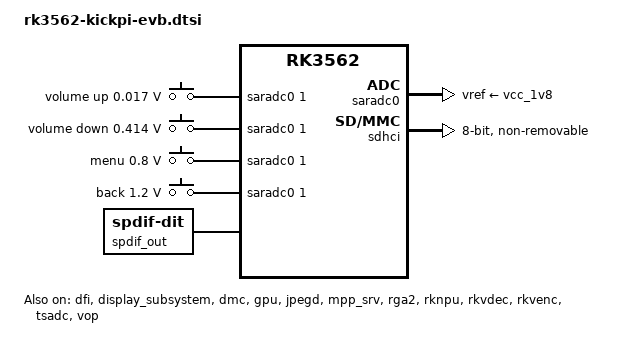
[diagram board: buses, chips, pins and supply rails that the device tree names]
// SPDX-License-Identifier: (GPL-2.0+ OR MIT)
/*
 * Copyright (c) 2022 Rockchip Electronics Co., Ltd.
 *
 */

#include <dt-bindings/display/drm_mipi_dsi.h>
#include <dt-bindings/gpio/gpio.h>
#include <dt-bindings/input/input.h>
#include <dt-bindings/pinctrl/rockchip.h>

/ {
	adc_keys: adc-keys {
		compatible = "adc-keys";
		io-channels = <&saradc0 1>;
		io-channel-names = "buttons";
		keyup-threshold-microvolt = <1800000>;
		poll-interval = <100>;

		vol-up-key {
			linux,code = <KEY_VOLUMEUP>;
			label = "volume up";
			press-threshold-microvolt = <17000>;
		};

		vol-down-key {
			linux,code = <KEY_VOLUMEDOWN>;
			label = "volume down";
			press-threshold-microvolt = <414000>;
		};

		menu-key {
			linux,code = <KEY_MENU>;
			label = "menu";
			press-threshold-microvolt = <800000>;
		};

		back-key {
			linux,code = <KEY_BACK>;
			label = "back";
			press-threshold-microvolt = <1200000>;
		};
	};
/*
	pdm_codec: dummy-codec {
		status = "okay";
		compatible = "rockchip,dummy-codec";
		#sound-dai-cells = <0>;
	};

	pdm_mic_array: pdm-mic-array {
		status = "disabled";
		compatible = "simple-audio-card";
		simple-audio-card,name = "rockchip,pdm-mic-array";
		simple-audio-card,cpu {
			sound-dai = <&pdm>;
		};
		simple-audio-card,codec {
			sound-dai = <&pdm_codec>;
		};
	};
*/
	spdif_out: spdif-out {
		status = "okay";
		compatible = "linux,spdif-dit";
		#sound-dai-cells = <0>;
	};

	spdif-sound {
		status = "okay";
		compatible = "simple-audio-card";
		simple-audio-card,name = "rk-spdif-sound";
		simple-audio-card,mclk-fs = <128>;
		simple-audio-card,cpu {
			sound-dai = <&spdif_8ch>;
		};
		simple-audio-card,codec {
			sound-dai = <&spdif_out>;
		};
	};

        leds: leds {
                status = "okay";
                compatible = "gpio-leds";
	};

/*
	test-power {
		status = "okay";
	};
*/
};

&cpu0 {
	cpu-supply = <&vdd_cpu>;
};

&dfi {
	status = "okay";
};

&display_subsystem {
	status = "okay";
};

&dmc {
	center-supply = <&vdd_logic>;
	status = "okay";
};

&gpu {
	status = "okay";
	mali-supply = <&vdd_gpu>;
};

&jpegd {
	status = "okay";
};

&jpegd_mmu {
	status = "okay";
};

&mpp_srv {
	status = "okay";
};

&rga2 {
	status = "okay";
};

&rga2_mmu {
	status = "okay";
};

&rknpu {
	rknpu-supply = <&vdd_npu>;
	status = "okay";
};

&rknpu_mmu {
	status = "okay";
};

&rkvdec {
	status = "okay";
};

&rkvdec_mmu {
	status = "okay";
};

&rkvenc {
	status = "okay";
};

&rkvenc_mmu {
	status = "okay";
};

&saradc0 {
	status = "okay";
	vref-supply = <&vcc_1v8>;
};

&sdhci {
	bus-width = <8>;
	no-sdio;
	no-sd;
	non-removable;
	max-frequency = <200000000>;
	mmc-hs400-1_8v;
	mmc-hs400-enhanced-strobe;
	full-pwr-cycle-in-suspend;
	status = "okay";
};

&tsadc {
	status = "okay";
};

&vop {
	status = "okay";
};

&vop_mmu {
	status = "okay";
};
